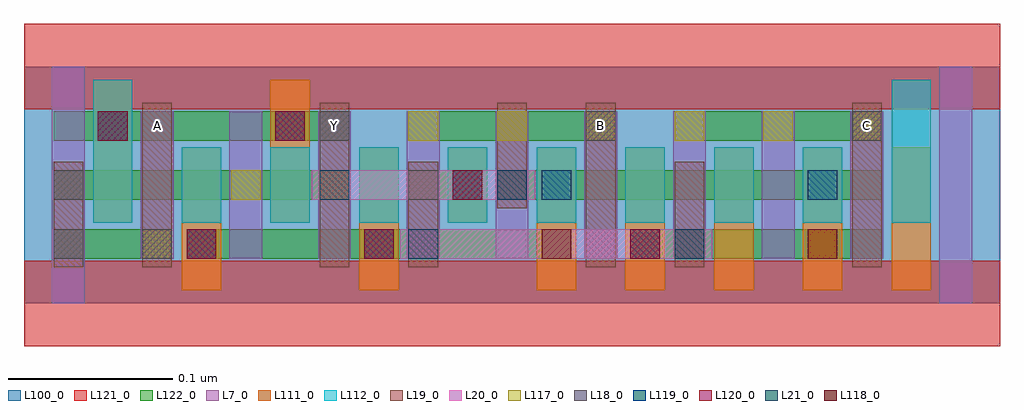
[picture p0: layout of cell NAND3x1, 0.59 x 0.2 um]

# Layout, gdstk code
import gdstk
lib = gdstk.Library(unit=1e-6, precision=2.5e-10)
def R(c, l, rs):  # rectangles x0, y0, x1, y1
    for r in rs: c.add(gdstk.rectangle(r[:2], r[2:], *l))
def A(c, l, x, y, w, h, nx, ny, dx, dy):  # array of equal rectangles
    R(c, l, [(x+i*dx, y+j*dy, x+i*dx+w, y+j*dy+h) for i in range(nx) for j in range(ny)])
L7_0 = (7, 0)
L18_0 = (18, 0)
L19_0 = (19, 0)
L20_0 = (20, 0)
L21_0 = (21, 0)
L100_0 = (100, 0)
L111_0 = (111, 0)
L112_0 = (112, 0)
L117_0 = (117, 0)
L118_0 = (118, 0)
L119_0 = (119, 0)
L120_0 = (120, 0)
L121_0 = (121, 0)
L122_0 = (122, 0)

nand3x1 = lib.new_cell('NAND3x1')
A(nand3x1, L7_0, 0.071, 0.027, 0.02, 0.09, 9, 1, 0.054, 0)
R(nand3x1, L7_0, [(0.017,0,0.037,0.144), (0.557,0,0.577,0.144)])
A(nand3x1, L18_0, 0.18, 0.099, 0.018, 0.018, 3, 1, 0.162, 0)
R(nand3x1, L18_0, [(0.018,0.027,0.036,0.045), (0.072,0.027,0.09,0.045), (0.396,0.027,0.414,0.045), (0.018,0.063,0.036,0.081), (0.234,0.063,0.252,0.081), (0.288,0.063,0.306,0.081)])
A(nand3x1, L19_0, 0.18, 0.022, 0.018, 0.1, 3, 1, 0.162, 0)
R(nand3x1, L19_0, [(0.018,0.022,0.036,0.086), (0.072,0.022,0.09,0.122), (0.234,0.022,0.252,0.086), (0.396,0.022,0.414,0.086), (0.288,0.058,0.306,0.122)])
R(nand3x1, L20_0, [(0.229,0.027,0.419,0.045), (0.175,0.063,0.311,0.081)])
R(nand3x1, L21_0, [(0.234,0.027,0.252,0.045), (0.396,0.027,0.414,0.045), (0.18,0.063,0.198,0.081), (0.288,0.063,0.306,0.081)])
R(nand3x1, L100_0, [(0,0,0.594,0.144)])
A(nand3x1, L111_0, 0.096, 0.008, 0.024, 0.087, 3, 1, 0.108, 0)
A(nand3x1, L111_0, 0.366, 0.008, 0.024, 0.087, 4, 1, 0.054, 0)
R(nand3x1, L111_0, [(0.042,0.049,0.066,0.136), (0.15,0.049,0.174,0.136), (0.258,0.049,0.282,0.095)])
A(nand3x1, L112_0, 0.096, 0.049, 0.024, 0.046, 8, 1, 0.054, 0)
R(nand3x1, L112_0, [(0.042,0.049,0.066,0.136), (0.528,0.049,0.552,0.136)])
A(nand3x1, L117_0, 0.234, 0.099, 0.018, 0.018, 6, 1, 0.054, 0)
R(nand3x1, L117_0, [(0.072,0.027,0.09,0.045), (0.126,0.063,0.144,0.081), (0.18,0.063,0.198,0.081)])
R(nand3x1, L118_0, [(0.315,0.027,0.333,0.045), (0.477,0.027,0.495,0.045)])
R(nand3x1, L119_0, [(0.099,0.027,0.117,0.045), (0.207,0.027,0.225,0.045), (0.369,0.027,0.387,0.045), (0.261,0.063,0.279,0.081), (0.315,0.063,0.333,0.081), (0.477,0.063,0.495,0.081), (0.045,0.099,0.063,0.117), (0.153,0.099,0.171,0.117)])
R(nand3x1, L120_0, [(0.099,0.027,0.117,0.045), (0.207,0.027,0.225,0.045), (0.369,0.027,0.387,0.045), (0.261,0.063,0.279,0.081), (0.045,0.099,0.063,0.117), (0.153,0.099,0.171,0.117)])
R(nand3x1, L121_0, [(0,-0.026,0.594,0.026), (0,0.118,0.594,0.17)])
R(nand3x1, L122_0, [(0.018,0.027,0.09,0.045), (0.099,0.027,0.333,0.045), (0.369,0.027,0.522,0.045), (0.018,0.063,0.198,0.081), (0.234,0.063,0.279,0.081), (0.288,0.063,0.522,0.081), (0.018,0.099,0.198,0.117), (0.234,0.099,0.36,0.117), (0.396,0.099,0.522,0.117)])
nand3x1.add(gdstk.Label('Y', (0.189,0.108), layer=19, texttype=251))
nand3x1.add(gdstk.Label('C', (0.513,0.108), layer=19, texttype=251))
nand3x1.add(gdstk.Label('B', (0.351,0.108), layer=19, texttype=251))
nand3x1.add(gdstk.Label('A', (0.081,0.108), layer=19, texttype=251))

lib.write_gds('NAND3x1.gds')
